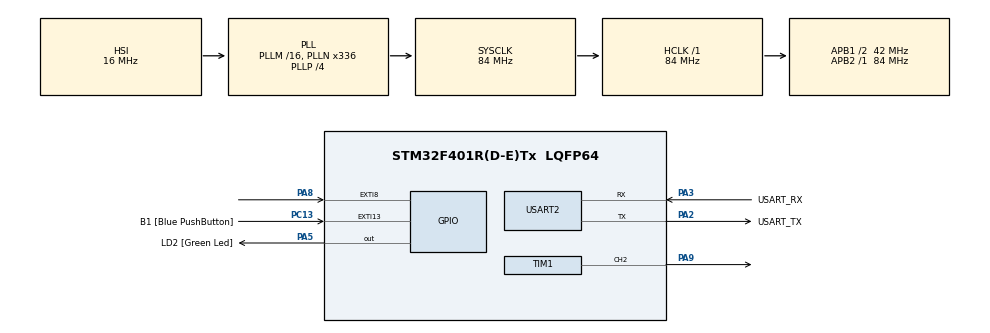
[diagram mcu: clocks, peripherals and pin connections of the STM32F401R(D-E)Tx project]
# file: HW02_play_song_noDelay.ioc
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Mcu.Family=STM32F4
Mcu.Name=STM32F401R(D-E)Tx
Mcu.Package=LQFP64
NVIC.EXTI9_5_IRQn=true\:0\:0\:false\:false\:true\:true\:true\:true
NVIC.PriorityGroup=NVIC_PRIORITYGROUP_0
NVIC.TIM2_IRQn=true\:0\:0\:false\:false\:true\:true\:true\:true
PA13.GPIO_Label=TMS
PA13.Mode=Serial_Wire
PA13.Signal=SYS_JTMS-SWDIO
PA14.GPIO_Label=TCK
PA14.Mode=Serial_Wire
PA14.Signal=SYS_JTCK-SWCLK
PA2.GPIO_Label=USART_TX
PA2.GPIO_Mode=GPIO_MODE_AF_PP
PA2.GPIO_PuPd=GPIO_NOPULL
PA2.GPIO_Speed=GPIO_SPEED_FREQ_LOW
PA2.Mode=Asynchronous
PA2.Signal=USART2_TX
PA3.GPIO_Label=USART_RX
PA3.GPIO_Mode=GPIO_MODE_AF_PP
PA3.GPIO_PuPd=GPIO_NOPULL
PA3.GPIO_Speed=GPIO_SPEED_FREQ_LOW
PA3.Mode=Asynchronous
PA3.Signal=USART2_RX
PA5.GPIO_Label=LD2 [Green Led]
PA5.GPIO_Mode=GPIO_MODE_OUTPUT_PP
PA5.GPIO_PuPd=GPIO_NOPULL
PA5.GPIO_Speed=GPIO_SPEED_FREQ_LOW
PA5.Signal=GPIO_Output
PA8.Signal=GPXTI8
PA9.Signal=S_TIM1_CH2
PB3.GPIO_Label=SWO
PB3.Signal=SYS_JTDO-SWO
PC13-ANTI_TAMP.GPIO_Label=B1 [Blue PushButton]
PC13-ANTI_TAMP.GPIO_ModeDefaultEXTI=GPIO_MODE_IT_FALLING
PC13-ANTI_TAMP.GPIO_PuPd=GPIO_NOPULL
PC13-ANTI_TAMP.Signal=GPXTI13
PC14-OSC32_IN.Mode=LSE-External-Oscillator
PC14-OSC32_IN.Signal=RCC_OSC32_IN
PC15-OSC32_OUT.Mode=LSE-External-Oscillator
PC15-OSC32_OUT.Signal=RCC_OSC32_OUT
PH0\ -\ OSC_IN.Mode=HSE-External-Clock-Source
PH0\ -\ OSC_IN.Signal=RCC_OSC_IN
PH1\ -\ OSC_OUT.Mode=HSE-External-Clock-Source
PH1\ -\ OSC_OUT.Signal=RCC_OSC_OUT
ProjectManager.HeapSize=0x200
ProjectManager.StackSize=0x400
ProjectManager.TargetToolchain=STM32CubeIDE
RCC.48MHZClocksFreq_Value=48000000
RCC.AHBFreq_Value=84000000
RCC.APB1CLKDivider=RCC_HCLK_DIV2
RCC.APB1Freq_Value=42000000
RCC.APB1TimFreq_Value=84000000
RCC.APB2Freq_Value=84000000
RCC.APB2TimFreq_Value=84000000
RCC.CortexFreq_Value=84000000
RCC.HCLKFreq_Value=84000000
RCC.HSE_VALUE=8000000
RCC.HSI_VALUE=16000000
RCC.PLLN=336
RCC.PLLP=RCC_PLLP_DIV4
RCC.PLLQ=7
RCC.SYSCLKFreq_VALUE=84000000
RCC.SYSCLKSource=RCC_SYSCLKSOURCE_PLLCLK
RCC.VCOOutputFreq_Value=336000000
SH.S_TIM1_CH2.0=TIM1_CH2,PWM Generation2 CH2
TIM1.Channel-PWM\ Generation2\ CH2=TIM_CHANNEL_2
TIM1.Period=0
TIM1.Prescaler=100-1
TIM2.Period=0
TIM2.Prescaler=8400
USART2.VirtualMode=VM_ASYNC
VP_TIM1_VS_ClockSourceINT.Mode=Internal
VP_TIM2_VS_ClockSourceINT.Mode=Internal
board=NUCLEO-F401RE

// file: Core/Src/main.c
/* USER CODE BEGIN Header */
/**
 ******************************************************************************
 * @file           : main.c
 * @brief          : Main program body
 ******************************************************************************
 * @attention
 *
 * Copyright (c) 2022 STMicroelectronics.
 * All rights reserved.
 *
 * This software is licensed under terms that can be found in the LICENSE file
 * in the root directory of this software component.
 * If no LICENSE file comes with this software, it is provided AS-IS.
 *
 ******************************************************************************
 */
/* USER CODE END Header */
#include "main.h"

TIM_HandleTypeDef htim1;
TIM_HandleTypeDef htim2;

UART_HandleTypeDef huart2;

void SystemClock_Config(void);
static void MX_GPIO_Init(void);
static void MX_USART2_UART_Init(void);
static void MX_TIM1_Init(void);
static void MX_TIM2_Init(void);

/* USER CODE BEGIN 0 */
#define _C4 3206
#define _Cd4 3032
#define _D4 2857
#define _Dd4 2700
#define _E4 2545
#define _F4 2406
#define _Fd4 2270
#define _G4 2142
#define _Gd4 2024
#define _A4 1909
#define _Ad4 1802
#define _B4 1700

#define _C5 1606
#define _Cd5 1516
#define _D5 1431
#define _Dd5 1350
#define _E5 1274
#define _F5 1203
#define _Fd5 1135
#define _G5 1071
#define _Gd5 1010
#define _A5 954
#define _Ad5 901
#define _B5 850

#define _NOT_PLAYING 0
#define _PLAYING 1
#define _START_PLAYING 2
#define _NOTE_PLAYING 3

#define TEMPO_BPM 180

typedef struct notaT{
	int f;
	int d;
} notaT;

char musicState = _NOT_PLAYING;

/*
 * London Bridge is Falling Down
 */
notaT londonBridge[]={
		{_G4,3},
		{_A4,1},
		{_G4,2},
		{_F4,2},

		{_E4,2},
		{_F4,2},
		{_G4,4},

		{_D4,2},
		{_E4,2},
		{_F4,4},

		{_D4,2},
		{_F4,2},
		{_G4,4},

		{_G4,3},
		{_A4,1},
		{_G4,2},
		{_F4,2},

		{_E4,2},
		{_F4,2},
		{_G4,4},

		{_D4,4},
		{_G4,4},

		{_E4,2},
		{_C4,6}
};

void playNote(notaT nota){

	__HAL_TIM_SET_AUTORELOAD(&htim1, nota.f-1);
	__HAL_TIM_SET_COMPARE(&htim1,TIM_CHANNEL_2, nota.f/2-1);
	__HAL_TIM_SET_COUNTER(&htim1, 0);

	__HAL_TIM_SET_AUTORELOAD(&htim2, ((300000.0/TEMPO_BPM)*nota.d)-1);
	__HAL_TIM_SET_COUNTER(&htim2, 0);
	__HAL_TIM_CLEAR_FLAG(&htim2, TIM_FLAG_UPDATE);

	//start reproducing the note
	HAL_TIM_PWM_Start(&htim1, TIM_CHANNEL_2);
	HAL_TIM_Base_Start_IT(&htim2);

	musicState = _NOTE_PLAYING;
	while(musicState == _NOTE_PLAYING){}

	HAL_TIM_PWM_Stop(&htim1, TIM_CHANNEL_2);
	HAL_TIM_Base_Stop_IT(&htim2);
}

void playSong(notaT song[], int nNote){
	for (int i = 0; i < nNote; ++i) {
		playNote(song[i]);
	}
}

/*
 * When I detect sound on the microphone and I'm not playing I change the state
 */
void HAL_GPIO_EXTI_Callback(uint16_t GPIO_Pin)
{
	if(GPIO_Pin==GPIO_PIN_8 && musicState == _NOT_PLAYING){
		musicState = _START_PLAYING;
	}
}

void HAL_TIM_PeriodElapsedCallback(TIM_HandleTypeDef *htim)
{
	//timer2 ticks every 0.1ms when ticks i must stop the PWM of TIM1 and trigger next note to play
	if (htim  ==  &htim2 && musicState == _NOTE_PLAYING){
		musicState = _PLAYING;
	}
}
/* USER CODE END 0 */

int main(void)
{

	/* MCU Configuration--------------------------------------------------------*/

	/* Reset of all peripherals, Initializes the Flash interface and the Systick. */
	HAL_Init();

	/* Configure the system clock */
	SystemClock_Config();

	/* Initialize all configured peripherals */
	MX_GPIO_Init();
	MX_USART2_UART_Init();
	MX_TIM1_Init();
	MX_TIM2_Init();

	/* Infinite loop */
	/* USER CODE BEGIN WHILE */
	while (1)
	{
		if (musicState == _START_PLAYING){
			musicState = _PLAYING;
			playSong(londonBridge, sizeof(londonBridge)/sizeof(notaT));
			musicState = _NOT_PLAYING;
		}
		/* USER CODE END WHILE */

	}
}

void SystemClock_Config(void)
{
	RCC_OscInitTypeDef RCC_OscInitStruct = {0};
	RCC_ClkInitTypeDef RCC_ClkInitStruct = {0};

	/** Configure the main internal regulator output voltage
	 */
	__HAL_RCC_PWR_CLK_ENABLE();
	__HAL_PWR_VOLTAGESCALING_CONFIG(PWR_REGULATOR_VOLTAGE_SCALE2);

	/** Initializes the RCC Oscillators according to the specified parameters
	 * in the RCC_OscInitTypeDef structure.
	 */
	RCC_OscInitStruct.OscillatorType = RCC_OSCILLATORTYPE_HSI;
	RCC_OscInitStruct.HSIState = RCC_HSI_ON;
	RCC_OscInitStruct.HSICalibrationValue = RCC_HSICALIBRATION_DEFAULT;
	RCC_OscInitStruct.PLL.PLLState = RCC_PLL_ON;
	RCC_OscInitStruct.PLL.PLLSource = RCC_PLLSOURCE_HSI;
	RCC_OscInitStruct.PLL.PLLM = 16;
	RCC_OscInitStruct.PLL.PLLN = 336;
	RCC_OscInitStruct.PLL.PLLP = RCC_PLLP_DIV4;
	RCC_OscInitStruct.PLL.PLLQ = 7;
	if (HAL_RCC_OscConfig(&RCC_OscInitStruct) != HAL_OK)
	{
		Error_Handler();
	}

	/** Initializes the CPU, AHB and APB buses clocks
	 */
	RCC_ClkInitStruct.ClockType = RCC_CLOCKTYPE_HCLK|RCC_CLOCKTYPE_SYSCLK
			|RCC_CLOCKTYPE_PCLK1|RCC_CLOCKTYPE_PCLK2;
	RCC_ClkInitStruct.SYSCLKSource = RCC_SYSCLKSOURCE_PLLCLK;
	RCC_ClkInitStruct.AHBCLKDivider = RCC_SYSCLK_DIV1;
	RCC_ClkInitStruct.APB1CLKDivider = RCC_HCLK_DIV2;
	RCC_ClkInitStruct.APB2CLKDivider = RCC_HCLK_DIV1;

	if (HAL_RCC_ClockConfig(&RCC_ClkInitStruct, FLASH_LATENCY_2) != HAL_OK)
	{
		Error_Handler();
	}
}

static void MX_TIM1_Init(void)
{

	TIM_ClockConfigTypeDef sClockSourceConfig = {0};
	TIM_MasterConfigTypeDef sMasterConfig = {0};
	TIM_OC_InitTypeDef sConfigOC = {0};
	TIM_BreakDeadTimeConfigTypeDef sBreakDeadTimeConfig = {0};

	htim1.Instance = TIM1;
	htim1.Init.Prescaler = 100-1;
	htim1.Init.CounterMode = TIM_COUNTERMODE_UP;
	htim1.Init.Period = 45-1;
	htim1.Init.ClockDivision = TIM_CLOCKDIVISION_DIV1;
	htim1.Init.RepetitionCounter = 0;
	htim1.Init.AutoReloadPreload = TIM_AUTORELOAD_PRELOAD_DISABLE;
	if (HAL_TIM_Base_Init(&htim1) != HAL_OK)
	{
		Error_Handler();
	}
	sClockSourceConfig.ClockSource = TIM_CLOCKSOURCE_INTERNAL;
	if (HAL_TIM_ConfigClockSource(&htim1, &sClockSourceConfig) != HAL_OK)
	{
		Error_Handler();
	}
	if (HAL_TIM_PWM_Init(&htim1) != HAL_OK)
	{
		Error_Handler();
	}
	sMasterConfig.MasterOutputTrigger = TIM_TRGO_RESET;
	sMasterConfig.MasterSlaveMode = TIM_MASTERSLAVEMODE_DISABLE;
	if (HAL_TIMEx_MasterConfigSynchronization(&htim1, &sMasterConfig) != HAL_OK)
	{
		Error_Handler();
	}
	sConfigOC.OCMode = TIM_OCMODE_PWM1;
	sConfigOC.Pulse = 45.0/2.0-1;
	sConfigOC.OCPolarity = TIM_OCPOLARITY_HIGH;
	sConfigOC.OCNPolarity = TIM_OCNPOLARITY_HIGH;
	sConfigOC.OCFastMode = TIM_OCFAST_DISABLE;
	sConfigOC.OCIdleState = TIM_OCIDLESTATE_RESET;
	sConfigOC.OCNIdleState = TIM_OCNIDLESTATE_RESET;
	if (HAL_TIM_PWM_ConfigChannel(&htim1, &sConfigOC, TIM_CHANNEL_2) != HAL_OK)
	{
		Error_Handler();
	}
	sBreakDeadTimeConfig.OffStateRunMode = TIM_OSSR_DISABLE;
	sBreakDeadTimeConfig.OffStateIDLEMode = TIM_OSSI_DISABLE;
	sBreakDeadTimeConfig.LockLevel = TIM_LOCKLEVEL_OFF;
	sBreakDeadTimeConfig.DeadTime = 0;
	sBreakDeadTimeConfig.BreakState = TIM_BREAK_DISABLE;
	sBreakDeadTimeConfig.BreakPolarity = TIM_BREAKPOLARITY_HIGH;
	sBreakDeadTimeConfig.AutomaticOutput = TIM_AUTOMATICOUTPUT_DISABLE;
	if (HAL_TIMEx_ConfigBreakDeadTime(&htim1, &sBreakDeadTimeConfig) != HAL_OK)
	{
		Error_Handler();
	}
	HAL_TIM_MspPostInit(&htim1);

}

static void MX_TIM2_Init(void)
{

	TIM_ClockConfigTypeDef sClockSourceConfig = {0};
	TIM_MasterConfigTypeDef sMasterConfig = {0};

	htim2.Instance = TIM2;
	htim2.Init.Prescaler = 8400;
	htim2.Init.CounterMode = TIM_COUNTERMODE_UP;
	htim2.Init.Period = 0;
	htim2.Init.ClockDivision = TIM_CLOCKDIVISION_DIV1;
	htim2.Init.AutoReloadPreload = TIM_AUTORELOAD_PRELOAD_DISABLE;
	if (HAL_TIM_Base_Init(&htim2) != HAL_OK)
	{
		Error_Handler();
	}
	sClockSourceConfig.ClockSource = TIM_CLOCKSOURCE_INTERNAL;
	if (HAL_TIM_ConfigClockSource(&htim2, &sClockSourceConfig) != HAL_OK)
	{
		Error_Handler();
	}
	sMasterConfig.MasterOutputTrigger = TIM_TRGO_RESET;
	sMasterConfig.MasterSlaveMode = TIM_MASTERSLAVEMODE_DISABLE;
	if (HAL_TIMEx_MasterConfigSynchronization(&htim2, &sMasterConfig) != HAL_OK)
	{
		Error_Handler();
	}

}

static void MX_USART2_UART_Init(void)
{

	huart2.Instance = USART2;
	huart2.Init.BaudRate = 115200;
	huart2.Init.WordLength = UART_WORDLENGTH_8B;
	huart2.Init.StopBits = UART_STOPBITS_1;
	huart2.Init.Parity = UART_PARITY_NONE;
	huart2.Init.Mode = UART_MODE_TX_RX;
	huart2.Init.HwFlowCtl = UART_HWCONTROL_NONE;
	huart2.Init.OverSampling = UART_OVERSAMPLING_16;
	if (HAL_UART_Init(&huart2) != HAL_OK)
	{
		Error_Handler();
	}

}

static void MX_GPIO_Init(void)
{
	GPIO_InitTypeDef GPIO_InitStruct = {0};

	/* GPIO Ports Clock Enable */
	__HAL_RCC_GPIOC_CLK_ENABLE();
	__HAL_RCC_GPIOH_CLK_ENABLE();
	__HAL_RCC_GPIOA_CLK_ENABLE();
	__HAL_RCC_GPIOB_CLK_ENABLE();

	/*Configure GPIO pin Output Level */
	HAL_GPIO_WritePin(LD2_GPIO_Port, LD2_Pin, GPIO_PIN_RESET);

	/*Configure GPIO pin : B1_Pin */
	GPIO_InitStruct.Pin = B1_Pin;
	GPIO_InitStruct.Mode = GPIO_MODE_IT_FALLING;
	GPIO_InitStruct.Pull = GPIO_NOPULL;
	HAL_GPIO_Init(B1_GPIO_Port, &GPIO_InitStruct);

	/*Configure GPIO pin : LD2_Pin */
	GPIO_InitStruct.Pin = LD2_Pin;
	GPIO_InitStruct.Mode = GPIO_MODE_OUTPUT_PP;
	GPIO_InitStruct.Pull = GPIO_NOPULL;
	GPIO_InitStruct.Speed = GPIO_SPEED_FREQ_LOW;
	HAL_GPIO_Init(LD2_GPIO_Port, &GPIO_InitStruct);

	/*Configure GPIO pin : PA8 */
	GPIO_InitStruct.Pin = GPIO_PIN_8;
	GPIO_InitStruct.Mode = GPIO_MODE_IT_RISING;
	GPIO_InitStruct.Pull = GPIO_NOPULL;
	HAL_GPIO_Init(GPIOA, &GPIO_InitStruct);

	/* EXTI interrupt init*/
	HAL_NVIC_SetPriority(EXTI9_5_IRQn, 0, 0);
	HAL_NVIC_EnableIRQ(EXTI9_5_IRQn);

}

void Error_Handler(void)
{
	__disable_irq();
	while (1)
	{
	}
}
